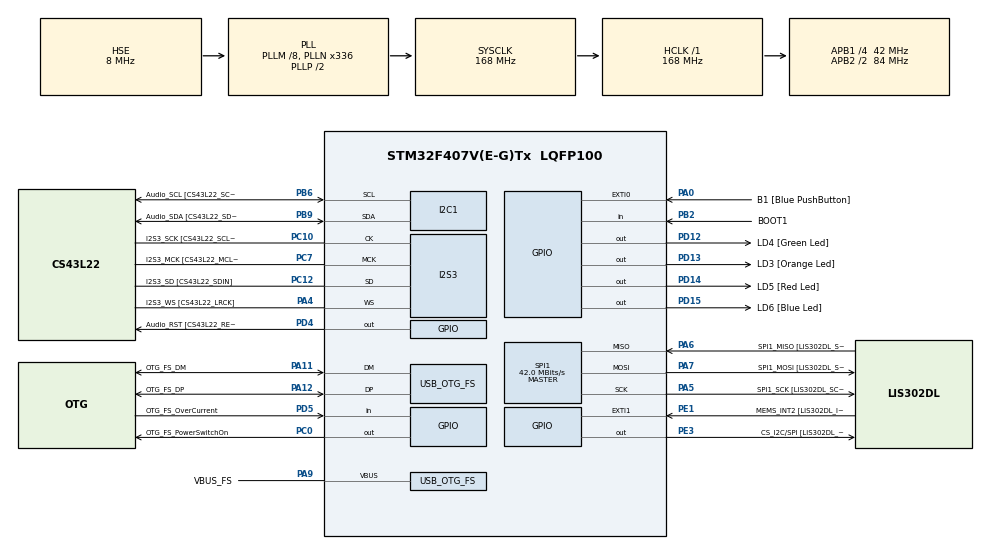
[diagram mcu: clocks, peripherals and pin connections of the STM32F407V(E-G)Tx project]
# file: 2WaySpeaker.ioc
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Dma.Request0=SPI3_TX
Dma.SPI3_TX.0.Direction=DMA_MEMORY_TO_PERIPH
Dma.SPI3_TX.0.FIFOMode=DMA_FIFOMODE_DISABLE
Dma.SPI3_TX.0.Instance=DMA1_Stream5
Dma.SPI3_TX.0.MemDataAlignment=DMA_MDATAALIGN_HALFWORD
Dma.SPI3_TX.0.MemInc=DMA_MINC_ENABLE
Dma.SPI3_TX.0.Mode=DMA_CIRCULAR
Dma.SPI3_TX.0.PeriphDataAlignment=DMA_PDATAALIGN_HALFWORD
Dma.SPI3_TX.0.PeriphInc=DMA_PINC_DISABLE
Dma.SPI3_TX.0.Priority=DMA_PRIORITY_LOW
I2S3.AudioFreq=I2S_AUDIOFREQ_48K
I2S3.AudioFreq-Half_Duplex_Master=I2S_AUDIOFREQ_96K
I2S3.ErrorAudioFreq=-2.34 %
I2S3.ErrorAudioFreq-Half_Duplex_Master=0.8 %
I2S3.FullDuplexMode=I2S_FULLDUPLEXMODE_DISABLE
I2S3.Instance=SPI$Index
I2S3.RealAudioFreq=46.875 KHz
I2S3.RealAudioFreq-Half_Duplex_Master=96.774 KHz
I2S3.VirtualMode=I2S_MODE_MASTER
Mcu.Family=STM32F4
Mcu.Name=STM32F407V(E-G)Tx
Mcu.Package=LQFP100
NVIC.DMA1_Stream5_IRQn=true\:0\:0\:false\:false\:true\:false\:true\:true
NVIC.OTG_FS_IRQn=true\:0\:0\:false\:false\:true\:true\:true\:true
NVIC.PriorityGroup=NVIC_PRIORITYGROUP_0
PA0-WKUP.GPIO_Label=B1 [Blue PushButton]
PA0-WKUP.GPIO_ModeDefaultEXTI=GPIO_MODE_EVT_RISING
PA0-WKUP.GPIO_PuPd=GPIO_NOPULL
PA0-WKUP.Signal=GPXTI0
PA10.GPIO_Label=OTG_FS_ID
PA10.GPIO_Mode=GPIO_MODE_AF_PP
PA10.GPIO_PuPd=GPIO_NOPULL
PA10.GPIO_Speed=GPIO_SPEED_FREQ_LOW
PA10.Signal=USB_OTG_FS_ID
PA11.GPIO_Label=OTG_FS_DM
PA11.GPIO_Mode=GPIO_MODE_AF_PP
PA11.GPIO_PuPd=GPIO_NOPULL
PA11.GPIO_Speed=GPIO_SPEED_FREQ_LOW
PA11.Mode=Host_Only
PA11.Signal=USB_OTG_FS_DM
PA12.GPIO_Label=OTG_FS_DP
PA12.GPIO_Mode=GPIO_MODE_AF_PP
PA12.GPIO_PuPd=GPIO_NOPULL
PA12.GPIO_Speed=GPIO_SPEED_FREQ_LOW
PA12.Mode=Host_Only
PA12.Signal=USB_OTG_FS_DP
PA13.GPIO_Label=SWDIO
PA13.Mode=Serial_Wire
PA13.Signal=SYS_JTMS-SWDIO
PA14.GPIO_Label=SWCLK
PA14.Mode=Serial_Wire
PA14.Signal=SYS_JTCK-SWCLK
PA4.GPIO_Label=I2S3_WS [CS43L22_LRCK]
PA4.GPIO_Mode=GPIO_MODE_AF_PP
PA4.GPIO_PuPd=GPIO_NOPULL
PA4.GPIO_Speed=GPIO_SPEED_FREQ_VERY_HIGH
PA4.Mode=Half_Duplex_Master
PA4.Signal=I2S3_WS
PA5.GPIO_Label=SPI1_SCK [LIS302DL_SCL/SPC]
PA5.GPIO_Mode=GPIO_MODE_AF_PP
PA5.GPIO_PuPd=GPIO_NOPULL
PA5.GPIO_Speed=GPIO_SPEED_FREQ_LOW
PA5.Mode=Full_Duplex_Master
PA5.Signal=SPI1_SCK
PA6.GPIO_Label=SPI1_MISO [LIS302DL_SDO]
PA6.GPIO_Mode=GPIO_MODE_AF_PP
PA6.GPIO_PuPd=GPIO_NOPULL
PA6.GPIO_Speed=GPIO_SPEED_FREQ_LOW
PA6.Mode=Full_Duplex_Master
PA6.Signal=SPI1_MISO
PA7.GPIO_Label=SPI1_MOSI [LIS302DL_SDA/SDI/SDO]
PA7.GPIO_Mode=GPIO_MODE_AF_PP
PA7.GPIO_PuPd=GPIO_NOPULL
PA7.GPIO_Speed=GPIO_SPEED_FREQ_LOW
PA7.Mode=Full_Duplex_Master
PA7.Signal=SPI1_MOSI
PA9.GPIO_Label=VBUS_FS
PA9.GPIO_Mode=GPIO_MODE_INPUT
PA9.GPIO_PuPd=GPIO_NOPULL
PA9.Mode=Activate_VBUS
PA9.Signal=USB_OTG_FS_VBUS
PB10.GPIO_Label=CLK_IN [MP45DT02_CLK]
PB10.GPIO_Mode=GPIO_MODE_AF_PP
PB10.GPIO_PuPd=GPIO_NOPULL
PB10.GPIO_Speed=GPIO_SPEED_FREQ_LOW
PB10.Signal=I2S2_CK
PB2.GPIO_Label=BOOT1
PB2.GPIO_Mode=GPIO_MODE_INPUT
PB2.GPIO_PuPd=GPIO_NOPULL
PB2.Signal=GPIO_Input
PB3.GPIO_Label=SWO
PB3.Signal=SYS_JTDO-SWO
PB6.GPIO_Label=Audio_SCL [CS43L22_SCL]
PB6.GPIO_Mode=GPIO_MODE_AF_OD
PB6.GPIO_Pu=GPIO_PULLUP
PB6.GPIO_PuPd=GPIO_NOPULL
PB6.GPIO_Speed=GPIO_SPEED_FREQ_LOW
PB6.Mode=I2C
PB6.Signal=I2C1_SCL
PB9.GPIO_Label=Audio_SDA [CS43L22_SDA]
PB9.GPIO_Mode=GPIO_MODE_AF_OD
PB9.GPIO_Pu=GPIO_PULLUP
PB9.GPIO_PuPd=GPIO_NOPULL
PB9.GPIO_Speed=GPIO_SPEED_FREQ_LOW
PB9.Mode=I2C
PB9.Signal=I2C1_SDA
PC0.GPIO_Label=OTG_FS_PowerSwitchOn
PC0.GPIO_PuPd=GPIO_NOPULL
PC0.GPIO_Speed=GPIO_SPEED_FREQ_LOW
PC0.PinState=GPIO_PIN_SET
PC0.Signal=GPIO_Output
PC10.GPIO_Label=I2S3_SCK [CS43L22_SCLK]
PC10.GPIO_Mode=GPIO_MODE_AF_PP
PC10.GPIO_PuPd=GPIO_NOPULL
PC10.GPIO_Speed=GPIO_SPEED_FREQ_VERY_HIGH
PC10.Mode=Half_Duplex_Master
PC10.Signal=I2S3_CK
PC12.GPIO_Label=I2S3_SD [CS43L22_SDIN]
PC12.GPIO_Mode=GPIO_MODE_AF_PP
PC12.GPIO_PuPd=GPIO_NOPULL
PC12.GPIO_Speed=GPIO_SPEED_FREQ_HIGH
PC12.Mode=Half_Duplex_Master
PC12.Signal=I2S3_SD
PC14-OSC32_IN.GPIO_Label=PC14-OSC32_IN
PC14-OSC32_IN.Mode=LSE-External-Oscillator
PC14-OSC32_IN.Signal=RCC_OSC32_IN
PC15-OSC32_OUT.GPIO_Label=PC15-OSC32_OUT
PC15-OSC32_OUT.Mode=LSE-External-Oscillator
PC15-OSC32_OUT.Signal=RCC_OSC32_OUT
PC3.GPIO_Label=PDM_OUT [MP45DT02_DOUT]
PC3.GPIO_Mode=GPIO_MODE_AF_PP
PC3.GPIO_PuPd=GPIO_NOPULL
PC3.GPIO_Speed=GPIO_SPEED_FREQ_LOW
PC3.Signal=I2S2_SD
PC7.GPIO_Label=I2S3_MCK [CS43L22_MCLK]
PC7.GPIO_Mode=GPIO_MODE_AF_PP
PC7.GPIO_PuPd=GPIO_NOPULL
PC7.GPIO_Speed=GPIO_SPEED_FREQ_VERY_HIGH
PC7.Mode=Master_Clock_Activated
PC7.Signal=I2S3_MCK
PD12.GPIO_Label=LD4 [Green Led]
PD12.GPIO_PuPd=GPIO_NOPULL
PD12.GPIO_Speed=GPIO_SPEED_FREQ_LOW
PD12.Signal=GPIO_Output
PD13.GPIO_Label=LD3 [Orange Led]
PD13.GPIO_PuPd=GPIO_NOPULL
PD13.GPIO_Speed=GPIO_SPEED_FREQ_LOW
PD13.Signal=GPIO_Output
PD14.GPIO_Label=LD5 [Red Led]
PD14.GPIO_PuPd=GPIO_NOPULL
PD14.GPIO_Speed=GPIO_SPEED_FREQ_LOW
PD14.Signal=GPIO_Output
PD15.GPIO_Label=LD6 [Blue Led]
PD15.GPIO_PuPd=GPIO_NOPULL
PD15.GPIO_Speed=GPIO_SPEED_FREQ_LOW
PD15.Signal=GPIO_Output
PD4.GPIO_Label=Audio_RST [CS43L22_RESET]
PD4.GPIO_PuPd=GPIO_NOPULL
PD4.GPIO_Speed=GPIO_SPEED_FREQ_LOW
PD4.Signal=GPIO_Output
PD5.GPIO_Label=OTG_FS_OverCurrent
PD5.GPIO_Mode=GPIO_MODE_INPUT
PD5.GPIO_PuPd=GPIO_NOPULL
PD5.Signal=GPIO_Input
PE1.GPIO_Label=MEMS_INT2 [LIS302DL_INT2]
PE1.GPIO_ModeDefaultEXTI=GPIO_MODE_EVT_RISING
PE1.GPIO_PuPd=GPIO_NOPULL
PE1.Signal=GPXTI1
PE3.GPIO_Label=CS_I2C/SPI [LIS302DL_CS_I2C/SPI]
PE3.GPIO_PuPd=GPIO_NOPULL
PE3.GPIO_Speed=GPIO_SPEED_FREQ_LOW
PE3.Signal=GPIO_Output
PH0-OSC_IN.GPIO_Label=PH0-OSC_IN
PH0-OSC_IN.Mode=HSE-External-Oscillator
PH0-OSC_IN.Signal=RCC_OSC_IN
PH1-OSC_OUT.GPIO_Label=PH1-OSC_OUT
PH1-OSC_OUT.Mode=HSE-External-Oscillator
PH1-OSC_OUT.Signal=RCC_OSC_OUT
ProjectManager.HeapSize=0x200
ProjectManager.StackSize=0x400
ProjectManager.TargetToolchain=STM32CubeIDE
RCC.48MHZClocksFreq_Value=48000000
RCC.AHBFreq_Value=168000000
RCC.APB1CLKDivider=RCC_HCLK_DIV4
RCC.APB1Freq_Value=42000000
RCC.APB1TimFreq_Value=84000000
RCC.APB2CLKDivider=RCC_HCLK_DIV2
RCC.APB2Freq_Value=84000000
RCC.APB2TimFreq_Value=168000000
RCC.CortexFreq_Value=168000000
RCC.HCLKFreq_Value=168000000
RCC.HSE_VALUE=8000000
RCC.HSI_VALUE=16000000
RCC.PLLM=8
RCC.PLLN=336
RCC.PLLQ=7
RCC.SYSCLKFreq_VALUE=168000000
RCC.SYSCLKSource=RCC_SYSCLKSOURCE_PLLCLK
RCC.VCOOutputFreq_Value=336000000
SPI1.BaudRatePrescaler-Full_Duplex_Master=SPI_BAUDRATEPRESCALER_2
SPI1.CalculateBaudRate=42.0 MBits/s
SPI1.CalculateBaudRate-Full_Duplex_Master=42.0 MBits/s
SPI1.Direction=SPI_DIRECTION_2LINES
SPI1.Mode=SPI_MODE_MASTER
SPI1.Mode-Full_Duplex_Master=SPI_MODE_MASTER
SPI1.VirtualType=VM_MASTER
USB_OTG_FS.VirtualMode=Host_Only
USB_OTG_FS.phy_itface=HCD_PHY_EMBEDDED
board=STM32F407G-DISC1

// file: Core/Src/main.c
/* USER CODE BEGIN Header */
/**
  ******************************************************************************
  * @file           : main.c
  * @brief          : Main program body
  ******************************************************************************
  * @attention
  *
  * Copyright (c) 2025 STMicroelectronics.
  * All rights reserved.
  *
  * This software is licensed under terms that can be found in the LICENSE file
  * in the root directory of this software component.
  * If no LICENSE file comes with this software, it is provided AS-IS.
  *
  ******************************************************************************
  */
/* USER CODE END Header */
#include "main.h"

/* USER CODE BEGIN Includes */
#include <string.h>
#include <math.h>
/* USER CODE END Includes */
#include "dsp.h"

I2C_HandleTypeDef hi2c1;

I2S_HandleTypeDef hi2s3;
DMA_HandleTypeDef hdma_spi3_tx;

SPI_HandleTypeDef hspi1;

HCD_HandleTypeDef hhcd_USB_OTG_FS;

/* USER CODE BEGIN PV */
static DspConfig g_dspDefaultCfg = {

    .sampleRate    = 48000.0f,   // cohérent avec ta config I2S
    .crossoverFreq = 2000.0f,    // Hz

	.inputTrim_dB  = 0.0f,

    .gain = {
        [DSP_CH_LOW]  = 1.0f,    // gain voie grave
        [DSP_CH_HIGH] = 1.0f     // gain voie aigu
    },

    .delaySamples = {
        [DSP_CH_LOW]  = 0,
        [DSP_CH_HIGH] = 0
    },
    .mute = {
        [DSP_CH_LOW]  = 0,
        [DSP_CH_HIGH] = 0
    },
    .invert = {
        [DSP_CH_LOW]  = 0,
        [DSP_CH_HIGH] = 0
    },
    .hpf = {
        .enabled = 1,
	    .stages  = 2,       // 2 x 12 dB/oct = 24 dB/oct
        .freq    = 80.0f,   // à ajuster selon le HP et la charge
        .Q       = 0.707f   // Butterworth
    },
	.eq = {
	    { // LOW
	      .numEq = 0,
	      .eqCoeffs = {
	          // biquad identité avec gain 0.5 (-6 dB)
	          { 0.0630957f, 0.0f, 0.0f, 0.0f, 0.0f }
	      }
	    },
	    { // HIGH
	      .numEq = 0
	    }
	},

    // Limiteurs par voie (désactivés pour l'instant)
    .limiter = {
        [DSP_CH_LOW] = {
            .enabled       = 0,
            .threshold_dB  = -1.0f,
            .ratio         = 20.0f,
            .attack_ms     = 1.0f,
            .release_ms    = 50.0f,
            .makeupGain_dB = 0.0f
        },
        [DSP_CH_HIGH] = {
            .enabled       = 0,
            .threshold_dB  = -3.0f,  // tweeter plus fragile
            .ratio         = 20.0f,
            .attack_ms     = 1.0f,
            .release_ms    = 50.0f,
            .makeupGain_dB = 0.0f
        }
    }
};
/* USER CODE END PV */

void SystemClock_Config(void);
static void MX_GPIO_Init(void);
static void MX_DMA_Init(void);
static void MX_I2C1_Init(void);
static void MX_I2S3_Init(void);
static void MX_SPI1_Init(void);
static void MX_USB_OTG_FS_HCD_Init(void);

/* USER CODE BEGIN 0 */
#define CS43L22_I2C_ADDR   0x94  // Adresse 7 bits décalée (0x4A<<1) :contentReference[oaicite:0]{index=0}
#define CS43L22_REG_ID     0x01  // Registre ID :contentReference[oaicite:1]{index=1}
#define CS43L22_ID         0xE0
#define CS43L22_ID_MASK    0xF8

#define CS43L22_REG_POWER_CTL1   0x02
#define CS43L22_REG_POWER_CTL2   0x04
#define CS43L22_REG_CLOCKING     0x05
#define CS43L22_REG_IFACE_CTL1   0x06
#define CS43L22_REG_IFACE_CTL2   0x07
#define CS43L22_REG_PASSIVE_VOL_A 0x20
#define CS43L22_REG_PASSIVE_VOL_B 0x21
#define CS43L22_REG_PLAYBACK_CTL2 0x0F

// --- Paramètres audio ---
#define AUDIO_CHANNELS            2
#define AUDIO_FRAMES_PER_HALF     256  // nb d’images (L/R) par demi-buffer
#define AUDIO_TOTAL_FRAMES        (2 * AUDIO_FRAMES_PER_HALF)   // 2 demi-buffers
#define AUDIO_BUFFER_SAMPLES      (AUDIO_TOTAL_FRAMES * AUDIO_CHANNELS)
// nombre total de samples 16 bits (L et R)

// sinus test
static float g_phase = 0.0f;
static const float TWO_PI = 6.28318530718f;
static const float SAMPLE_RATE_HZ = 48000.0f;
static const float TEST_TONE_FREQ = 500.0f;

static int16_t audio_buffer[AUDIO_BUFFER_SAMPLES];

static HAL_StatusTypeDef CS43L22_WriteReg(uint8_t reg, uint8_t value)
{
    uint8_t data[2] = { reg, value };
    return HAL_I2C_Master_Transmit(&hi2c1, CS43L22_I2C_ADDR, data, 2, HAL_MAX_DELAY);
}

static HAL_StatusTypeDef CS43L22_ReadReg(uint8_t reg, uint8_t *value)
{
    HAL_StatusTypeDef status;

    // On envoie d'abord l'adresse du registre
    status = HAL_I2C_Master_Transmit(&hi2c1, CS43L22_I2C_ADDR, &reg, 1, HAL_MAX_DELAY);
    if (status != HAL_OK) return status;

    // Puis on lit 1 octet
    return HAL_I2C_Master_Receive(&hi2c1, CS43L22_I2C_ADDR, value, 1, HAL_MAX_DELAY);
}

// Reset + init de base du codec pour I2S 16 bits stéréo
static HAL_StatusTypeDef CS43L22_Init(void)
{
    HAL_StatusTypeDef st;
    uint8_t id = 0;

    // Sortir le codec du reset (PD4 = Audio_RST)
    HAL_GPIO_WritePin(GPIOD, GPIO_PIN_4, GPIO_PIN_SET);
    HAL_Delay(10);

    // Lire l’ID
    st = CS43L22_ReadReg(CS43L22_REG_ID, &id);
    if (st != HAL_OK || (id & CS43L22_ID_MASK) != CS43L22_ID)
    {
        return HAL_ERROR;
    }

    // Mettre le codec en power-down logiciel pendant la config
    CS43L22_WriteReg(0x00, 0x99);
    CS43L22_WriteReg(0x47, 0x80);
    CS43L22_WriteReg(0x32, 0x80);
    CS43L22_WriteReg(0x32, 0x00);
    CS43L22_WriteReg(0x00, 0x00);

    // Clock auto, tout activé (utilise MCLK fourni par I2S3)
    CS43L22_WriteReg(CS43L22_REG_CLOCKING, 0x81);

    // Interface audio : I2S, 16 bits, format standard
    CS43L22_WriteReg(CS43L22_REG_IFACE_CTL1, 0x07); // I2S, 16-bit, slave, etc.

    // Volume casque (0x00 = 0 dB, plus bas = moins fort)
    CS43L22_WriteReg(CS43L22_REG_PASSIVE_VOL_A, 0xCC); // canal A
    CS43L22_WriteReg(CS43L22_REG_PASSIVE_VOL_B, 0xCC); // canal B

    // Activer HP left/right et mixer
    CS43L22_WriteReg(CS43L22_REG_POWER_CTL2, 0xAF);  // HP left/right on

    return HAL_OK;
}

static void CS43L22_Start(void)
{
    // Play : run
    CS43L22_WriteReg(CS43L22_REG_POWER_CTL1, 0x9E); // Power up, codec ON
}

// Remplit un demi-buffer de frames stéréo avec un sinus
static void FillSineHalfBuffer(int16_t *buf, uint32_t frames)
{
    float phase_inc = TWO_PI * TEST_TONE_FREQ / SAMPLE_RATE_HZ;

    for (uint32_t n = 0; n < frames; n++)
    {
        float s = sinf(g_phase);
        int16_t sample = (int16_t)(s * 30000.0f);

        buf[2*n + 0] = sample; // L
        buf[2*n + 1] = sample; // R

        g_phase += phase_inc;
        if (g_phase > TWO_PI)
            g_phase -= TWO_PI;
    }
}

/* USER CODE END 0 */

int main(void)
{

  /* MCU Configuration--------------------------------------------------------*/

  /* Reset of all peripherals, Initializes the Flash interface and the Systick. */
  HAL_Init();

  /* Configure the system clock */
  SystemClock_Config();

  /* Initialize all configured peripherals */
  MX_GPIO_Init();
  MX_DMA_Init();
  MX_I2C1_Init();
  MX_I2S3_Init();
  MX_SPI1_Init();
  MX_USB_OTG_FS_HCD_Init();
  /* USER CODE BEGIN 2 */

  DSP_Init(&g_dspDefaultCfg);

  // 1) Initialisation du codec
  if (CS43L22_Init() != HAL_OK)
  {
      HAL_GPIO_WritePin(GPIOD, GPIO_PIN_14, GPIO_PIN_SET);
      while (1) {}
  }

  // 2) Pré-remplir les deux demi-buffers avec un sinus
  //    Première moitié :
  FillSineHalfBuffer(&audio_buffer[0], AUDIO_FRAMES_PER_HALF);
  //    Deuxième moitié :
  FillSineHalfBuffer(&audio_buffer[2 * AUDIO_FRAMES_PER_HALF], AUDIO_FRAMES_PER_HALF);

  // 3) Démarrer la DMA sur tout le buffer (deux moitiés stéréo)
  if (HAL_I2S_Transmit_DMA(&hi2s3,
                           (uint16_t*)audio_buffer,
                           AUDIO_BUFFER_SAMPLES) != HAL_OK)
  {
      HAL_GPIO_WritePin(GPIOD, GPIO_PIN_14, GPIO_PIN_SET);
      while (1) {}
  }

  // 4) Démarrer le codec en lecture
  CS43L22_Start();
  /* USER CODE END 2 */

  /* Infinite loop */
  while (1)
  {

    /* USER CODE BEGIN 3 */
	  HAL_GPIO_TogglePin(GPIOD, GPIO_PIN_12);
	  HAL_Delay(500);
  }
  /* USER CODE END 3 */
}

void SystemClock_Config(void)
{
  RCC_OscInitTypeDef RCC_OscInitStruct = {0};
  RCC_ClkInitTypeDef RCC_ClkInitStruct = {0};

  /** Configure the main internal regulator output voltage
  */
  __HAL_RCC_PWR_CLK_ENABLE();
  __HAL_PWR_VOLTAGESCALING_CONFIG(PWR_REGULATOR_VOLTAGE_SCALE1);

  /** Initializes the RCC Oscillators according to the specified parameters
  * in the RCC_OscInitTypeDef structure.
  */
  RCC_OscInitStruct.OscillatorType = RCC_OSCILLATORTYPE_HSE;
  RCC_OscInitStruct.HSEState = RCC_HSE_ON;
  RCC_OscInitStruct.PLL.PLLState = RCC_PLL_ON;
  RCC_OscInitStruct.PLL.PLLSource = RCC_PLLSOURCE_HSE;
  RCC_OscInitStruct.PLL.PLLM = 8;
  RCC_OscInitStruct.PLL.PLLN = 336;
  RCC_OscInitStruct.PLL.PLLP = RCC_PLLP_DIV2;
  RCC_OscInitStruct.PLL.PLLQ = 7;
  if (HAL_RCC_OscConfig(&RCC_OscInitStruct) != HAL_OK)
  {
    Error_Handler();
  }

  /** Initializes the CPU, AHB and APB buses clocks
  */
  RCC_ClkInitStruct.ClockType = RCC_CLOCKTYPE_HCLK|RCC_CLOCKTYPE_SYSCLK
                              |RCC_CLOCKTYPE_PCLK1|RCC_CLOCKTYPE_PCLK2;
  RCC_ClkInitStruct.SYSCLKSource = RCC_SYSCLKSOURCE_PLLCLK;
  RCC_ClkInitStruct.AHBCLKDivider = RCC_SYSCLK_DIV1;
  RCC_ClkInitStruct.APB1CLKDivider = RCC_HCLK_DIV4;
  RCC_ClkInitStruct.APB2CLKDivider = RCC_HCLK_DIV2;

  if (HAL_RCC_ClockConfig(&RCC_ClkInitStruct, FLASH_LATENCY_5) != HAL_OK)
  {
    Error_Handler();
  }
}

static void MX_I2C1_Init(void)
{

  hi2c1.Instance = I2C1;
  hi2c1.Init.ClockSpeed = 100000;
  hi2c1.Init.DutyCycle = I2C_DUTYCYCLE_2;
  hi2c1.Init.OwnAddress1 = 0;
  hi2c1.Init.AddressingMode = I2C_ADDRESSINGMODE_7BIT;
  hi2c1.Init.DualAddressMode = I2C_DUALADDRESS_DISABLE;
  hi2c1.Init.OwnAddress2 = 0;
  hi2c1.Init.GeneralCallMode = I2C_GENERALCALL_DISABLE;
  hi2c1.Init.NoStretchMode = I2C_NOSTRETCH_DISABLE;
  if (HAL_I2C_Init(&hi2c1) != HAL_OK)
  {
    Error_Handler();
  }

}

static void MX_I2S3_Init(void)
{

  hi2s3.Instance = SPI3;
  hi2s3.Init.Mode = I2S_MODE_MASTER_TX;
  hi2s3.Init.Standard = I2S_STANDARD_PHILIPS;
  hi2s3.Init.DataFormat = I2S_DATAFORMAT_16B;
  hi2s3.Init.MCLKOutput = I2S_MCLKOUTPUT_ENABLE;
  hi2s3.Init.AudioFreq = I2S_AUDIOFREQ_48K;
  hi2s3.Init.CPOL = I2S_CPOL_LOW;
  hi2s3.Init.ClockSource = I2S_CLOCK_PLL;
  hi2s3.Init.FullDuplexMode = I2S_FULLDUPLEXMODE_DISABLE;
  if (HAL_I2S_Init(&hi2s3) != HAL_OK)
  {
    Error_Handler();
  }

}

static void MX_SPI1_Init(void)
{

  /* SPI1 parameter configuration*/
  hspi1.Instance = SPI1;
  hspi1.Init.Mode = SPI_MODE_MASTER;
  hspi1.Init.Direction = SPI_DIRECTION_2LINES;
  hspi1.Init.DataSize = SPI_DATASIZE_8BIT;
  hspi1.Init.CLKPolarity = SPI_POLARITY_LOW;
  hspi1.Init.CLKPhase = SPI_PHASE_1EDGE;
  hspi1.Init.NSS = SPI_NSS_SOFT;
  hspi1.Init.BaudRatePrescaler = SPI_BAUDRATEPRESCALER_2;
  hspi1.Init.FirstBit = SPI_FIRSTBIT_MSB;
  hspi1.Init.TIMode = SPI_TIMODE_DISABLE;
  hspi1.Init.CRCCalculation = SPI_CRCCALCULATION_DISABLE;
  hspi1.Init.CRCPolynomial = 10;
  if (HAL_SPI_Init(&hspi1) != HAL_OK)
  {
    Error_Handler();
  }

}

static void MX_USB_OTG_FS_HCD_Init(void)
{

  hhcd_USB_OTG_FS.Instance = USB_OTG_FS;
  hhcd_USB_OTG_FS.Init.Host_channels = 8;
  hhcd_USB_OTG_FS.Init.speed = HCD_SPEED_FULL;
  hhcd_USB_OTG_FS.Init.dma_enable = DISABLE;
  hhcd_USB_OTG_FS.Init.phy_itface = HCD_PHY_EMBEDDED;
  hhcd_USB_OTG_FS.Init.Sof_enable = DISABLE;
  if (HAL_HCD_Init(&hhcd_USB_OTG_FS) != HAL_OK)
  {
    Error_Handler();
  }

}

static void MX_DMA_Init(void)
{

  /* DMA controller clock enable */
  __HAL_RCC_DMA1_CLK_ENABLE();

  /* DMA interrupt init */
  /* DMA1_Stream5_IRQn interrupt configuration */
  HAL_NVIC_SetPriority(DMA1_Stream5_IRQn, 0, 0);
  HAL_NVIC_EnableIRQ(DMA1_Stream5_IRQn);

}

static void MX_GPIO_Init(void)
{
  GPIO_InitTypeDef GPIO_InitStruct = {0};

  /* GPIO Ports Clock Enable */
  __HAL_RCC_GPIOE_CLK_ENABLE();
  __HAL_RCC_GPIOC_CLK_ENABLE();
  __HAL_RCC_GPIOH_CLK_ENABLE();
  __HAL_RCC_GPIOA_CLK_ENABLE();
  __HAL_RCC_GPIOB_CLK_ENABLE();
  __HAL_RCC_GPIOD_CLK_ENABLE();

  /*Configure GPIO pin Output Level */
  HAL_GPIO_WritePin(CS_I2C_SPI_GPIO_Port, CS_I2C_SPI_Pin, GPIO_PIN_RESET);

  /*Configure GPIO pin Output Level */
  HAL_GPIO_WritePin(OTG_FS_PowerSwitchOn_GPIO_Port, OTG_FS_PowerSwitchOn_Pin, GPIO_PIN_SET);

  /*Configure GPIO pin Output Level */
  HAL_GPIO_WritePin(GPIOD, LD4_Pin|LD3_Pin|LD5_Pin|LD6_Pin
                          |Audio_RST_Pin, GPIO_PIN_RESET);

  /*Configure GPIO pin : CS_I2C_SPI_Pin */
  GPIO_InitStruct.Pin = CS_I2C_SPI_Pin;
  GPIO_InitStruct.Mode = GPIO_MODE_OUTPUT_PP;
  GPIO_InitStruct.Pull = GPIO_NOPULL;
  GPIO_InitStruct.Speed = GPIO_SPEED_FREQ_LOW;
  HAL_GPIO_Init(CS_I2C_SPI_GPIO_Port, &GPIO_InitStruct);

  /*Configure GPIO pin : OTG_FS_PowerSwitchOn_Pin */
  GPIO_InitStruct.Pin = OTG_FS_PowerSwitchOn_Pin;
  GPIO_InitStruct.Mode = GPIO_MODE_OUTPUT_PP;
  GPIO_InitStruct.Pull = GPIO_NOPULL;
  GPIO_InitStruct.Speed = GPIO_SPEED_FREQ_LOW;
  HAL_GPIO_Init(OTG_FS_PowerSwitchOn_GPIO_Port, &GPIO_InitStruct);

  /*Configure GPIO pin : PDM_OUT_Pin */
  GPIO_InitStruct.Pin = PDM_OUT_Pin;
  GPIO_InitStruct.Mode = GPIO_MODE_AF_PP;
  GPIO_InitStruct.Pull = GPIO_NOPULL;
  GPIO_InitStruct.Speed = GPIO_SPEED_FREQ_LOW;
  GPIO_InitStruct.Alternate = GPIO_AF5_SPI2;
  HAL_GPIO_Init(PDM_OUT_GPIO_Port, &GPIO_InitStruct);

  /*Configure GPIO pin : B1_Pin */
  GPIO_InitStruct.Pin = B1_Pin;
  GPIO_InitStruct.Mode = GPIO_MODE_EVT_RISING;
  GPIO_InitStruct.Pull = GPIO_NOPULL;
  HAL_GPIO_Init(B1_GPIO_Port, &GPIO_InitStruct);

  /*Configure GPIO pin : BOOT1_Pin */
  GPIO_InitStruct.Pin = BOOT1_Pin;
  GPIO_InitStruct.Mode = GPIO_MODE_INPUT;
  GPIO_InitStruct.Pull = GPIO_NOPULL;
  HAL_GPIO_Init(BOOT1_GPIO_Port, &GPIO_InitStruct);

  /*Configure GPIO pin : CLK_IN_Pin */
  GPIO_InitStruct.Pin = CLK_IN_Pin;
  GPIO_InitStruct.Mode = GPIO_MODE_AF_PP;
  GPIO_InitStruct.Pull = GPIO_NOPULL;
  GPIO_InitStruct.Speed = GPIO_SPEED_FREQ_LOW;
  GPIO_InitStruct.Alternate = GPIO_AF5_SPI2;
  HAL_GPIO_Init(CLK_IN_GPIO_Port, &GPIO_InitStruct);

  /*Configure GPIO pins : LD4_Pin LD3_Pin LD5_Pin LD6_Pin
                           Audio_RST_Pin */
  GPIO_InitStruct.Pin = LD4_Pin|LD3_Pin|LD5_Pin|LD6_Pin
                          |Audio_RST_Pin;
  GPIO_InitStruct.Mode = GPIO_MODE_OUTPUT_PP;
  GPIO_InitStruct.Pull = GPIO_NOPULL;
  GPIO_InitStruct.Speed = GPIO_SPEED_FREQ_LOW;
  HAL_GPIO_Init(GPIOD, &GPIO_InitStruct);

  /*Configure GPIO pin : OTG_FS_OverCurrent_Pin */
  GPIO_InitStruct.Pin = OTG_FS_OverCurrent_Pin;
  GPIO_InitStruct.Mode = GPIO_MODE_INPUT;
  GPIO_InitStruct.Pull = GPIO_NOPULL;
  HAL_GPIO_Init(OTG_FS_OverCurrent_GPIO_Port, &GPIO_InitStruct);

  /*Configure GPIO pin : MEMS_INT2_Pin */
  GPIO_InitStruct.Pin = MEMS_INT2_Pin;
  GPIO_InitStruct.Mode = GPIO_MODE_EVT_RISING;
  GPIO_InitStruct.Pull = GPIO_NOPULL;
  HAL_GPIO_Init(MEMS_INT2_GPIO_Port, &GPIO_InitStruct);

}

/* USER CODE BEGIN 4 */
void HAL_I2S_TxHalfCpltCallback(I2S_HandleTypeDef *hi2s)
{
    if (hi2s->Instance == SPI3)  // I2S3
    {
        int16_t *first_half = &audio_buffer[0];

        // Génère un sinus brut
        FillSineHalfBuffer(first_half, AUDIO_FRAMES_PER_HALF);

        // Puis applique le DSP (biquad CMSIS)
        DSP_ProcessHalfBuffer(first_half, AUDIO_FRAMES_PER_HALF);
    }
}

void HAL_I2S_TxCpltCallback(I2S_HandleTypeDef *hi2s)
{
    if (hi2s->Instance == SPI3)
    {
        int16_t *second_half = &audio_buffer[2 * AUDIO_FRAMES_PER_HALF];

        FillSineHalfBuffer(second_half, AUDIO_FRAMES_PER_HALF);
        DSP_ProcessHalfBuffer(second_half, AUDIO_FRAMES_PER_HALF);
    }
}
/* USER CODE END 4 */

void Error_Handler(void)
{
  __disable_irq();
  while (1)
  {
  }
}
